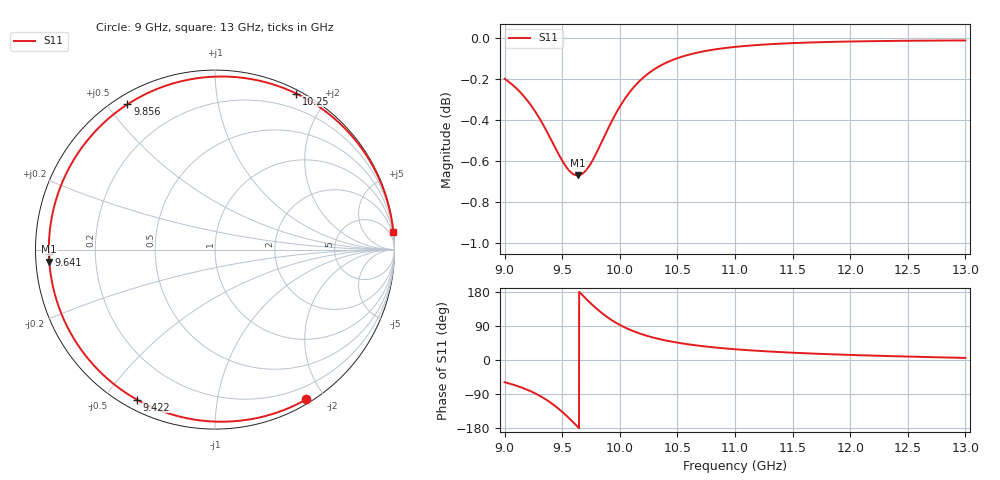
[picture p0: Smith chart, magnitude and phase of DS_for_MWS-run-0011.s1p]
! TOUCHSTONE file generated by CST DESIGN STUDIO
! Date and time: Tue Feb  4 15:46:17 2025
! Project name: C:\Work\MatlabApps\UnitCellOptimizationMatlab\CST\unitcell.cst
! Tree item: Tasks\Sweep1\SPara1\S-Parameters
! Header version: 2024
! Port assignment regex: !\s*Touchstone port\s*([0-9]+)\s*=\s*(CST MWS port|CST DES external port|CST DES block port)\s*(.+)\s* \(\"(.*)\"\)(\s*mode\s*([0-9]+))?.*
! Touchstone port assignment:
! Touchstone port 1 = CST DES external port 1 ("")
# GHz S MA R 50
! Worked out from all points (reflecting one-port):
!   4001 points, 9 GHz to 13 GHz, reference 50 ohm
!   lowest |S11| = -0.7 dB at 9.633 GHz (marker M1), VSWR 25.93, Z = 1.93 - j1.8 ohm
!   phase of S11 starts at -59 deg and turns -296 deg over the sweep
!   S11 on the Smith chart (normalised r, x): 9 GHz: 0.05, -1.78; 9.422 GHz: 0.04, -0.61; 9.641 GHz: 0.04, -0.01; 9.856 GHz: 0.04, +0.56; 10.25 GHz: 0.04, +1.65; 13 GHz: 0, +21
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9  0.9772 -58.7
9.106  0.9717 -68.2
9.213  0.9641 -80.6
9.275  0.9586 -89.6
9.329  0.953 -98.6
9.377  0.9476 -107.9
9.422  0.9423 -117.6
9.461  0.9377 -126.8
9.5  0.9334 -136.9
9.571  0.9276 -157.0
9.633  0.9257 -175.9
9.641  0.9258 -178.3
9.686  0.9271 167.8
9.734  0.9306 153.5
9.796  0.9373 136.1
9.856  0.9449 121.1
9.924  0.9535 106.4
10  0.9621 92.6
10.12  0.9725 75.8
10.251  0.9803 62.4
10.367  0.9849 53.6
10.5  0.9885 45.8
10.719  0.9922 36.5
11  0.9948 28.4
11.5  0.9969 19.2
12  0.9978 13.4
12.5  0.9982 9.0
13  0.9984 5.5
